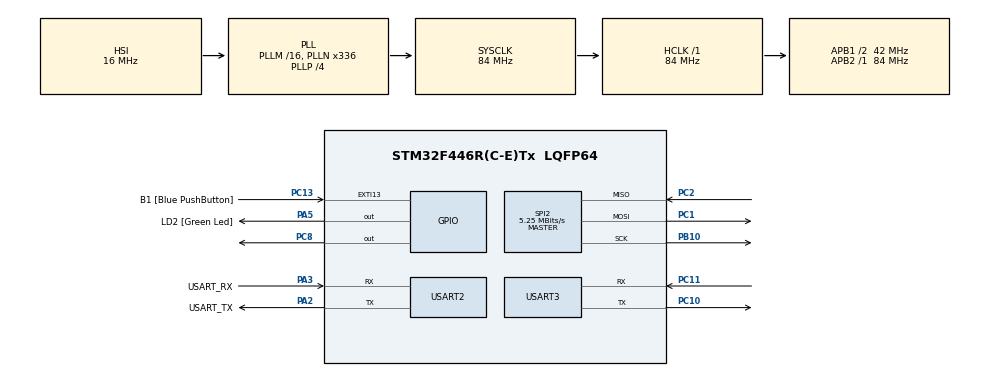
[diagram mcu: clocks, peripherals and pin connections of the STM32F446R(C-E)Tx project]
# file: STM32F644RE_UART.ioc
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Mcu.Family=STM32F4
Mcu.Name=STM32F446R(C-E)Tx
Mcu.Package=LQFP64
NVIC.PriorityGroup=NVIC_PRIORITYGROUP_0
PA13.GPIO_Label=TMS
PA13.Mode=Serial_Wire
PA13.Signal=SYS_JTMS-SWDIO
PA14.GPIO_Label=TCK
PA14.Mode=Serial_Wire
PA14.Signal=SYS_JTCK-SWCLK
PA2.GPIO_Label=USART_TX
PA2.Mode=Asynchronous
PA2.Signal=USART2_TX
PA3.GPIO_Label=USART_RX
PA3.Mode=Asynchronous
PA3.Signal=USART2_RX
PA5.GPIO_Label=LD2 [Green Led]
PA5.Signal=GPIO_Output
PB10.Mode=Full_Duplex_Master
PB10.Signal=SPI2_SCK
PB3.GPIO_Label=SWO
PB3.Signal=SYS_JTDO-SWO
PC1.Mode=Full_Duplex_Master
PC1.Signal=SPI2_MOSI
PC10.Mode=Asynchronous
PC10.Signal=USART3_TX
PC11.Mode=Asynchronous
PC11.Signal=USART3_RX
PC13.GPIO_Label=B1 [Blue PushButton]
PC13.GPIO_ModeDefaultEXTI=GPIO_MODE_IT_FALLING
PC13.Signal=GPXTI13
PC14-OSC32_IN.Mode=LSE-External-Oscillator
PC14-OSC32_IN.Signal=RCC_OSC32_IN
PC15-OSC32_OUT.Mode=LSE-External-Oscillator
PC15-OSC32_OUT.Signal=RCC_OSC32_OUT
PC2.Mode=Full_Duplex_Master
PC2.Signal=SPI2_MISO
PC8.Signal=GPIO_Output
PH0-OSC_IN.Mode=HSE-External-Oscillator
PH0-OSC_IN.Signal=RCC_OSC_IN
PH1-OSC_OUT.Mode=HSE-External-Oscillator
PH1-OSC_OUT.Signal=RCC_OSC_OUT
ProjectManager.HeapSize=0x200
ProjectManager.StackSize=0x400
ProjectManager.TargetToolchain=SW4STM32
RCC.48MHZClocksFreq_Value=84000000
RCC.AHBFreq_Value=84000000
RCC.APB1CLKDivider=RCC_HCLK_DIV2
RCC.APB1Freq_Value=42000000
RCC.APB1TimFreq_Value=84000000
RCC.APB2Freq_Value=84000000
RCC.APB2TimFreq_Value=84000000
RCC.CortexFreq_Value=84000000
RCC.FLatency-AdvancedSettings=FLASH_LATENCY_2
RCC.HCLKFreq_Value=84000000
RCC.HSE_VALUE=8000000
RCC.HSI_VALUE=16000000
RCC.PLLN=336
RCC.PLLP=RCC_PLLP_DIV4
RCC.SYSCLKFreq_VALUE=84000000
RCC.SYSCLKSource=RCC_SYSCLKSOURCE_PLLCLK
RCC.USBFreq_Value=168000000
RCC.VCOOutputFreq_Value=336000000
SPI2.BaudRatePrescaler=SPI_BAUDRATEPRESCALER_8
SPI2.CLKPhase=SPI_PHASE_1EDGE
SPI2.CLKPolarity=SPI_POLARITY_LOW
SPI2.CalculateBaudRate=5.25 MBits/s
SPI2.Direction=SPI_DIRECTION_2LINES
SPI2.Mode=SPI_MODE_MASTER
SPI2.VirtualType=VM_MASTER
USART2.VirtualMode=VM_ASYNC
USART3.VirtualMode=VM_ASYNC
VP_TIM6_VS_ClockSourceINT.Mode=Enable_Timer
board=NUCLEO-F446RE

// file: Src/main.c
/* USER CODE BEGIN Header */
/**
  ******************************************************************************
  * @file           : main.c
  * @brief          : Main program body
  ******************************************************************************
  * @attention
  *
  * <h2><center>&copy; Copyright (c) 2019 STMicroelectronics.
  * All rights reserved.</center></h2>
  *
  * This software component is licensed by ST under BSD 3-Clause license,
  * the "License"; You may not use this file except in compliance with the
  * License. You may obtain a copy of the License at:
  *                        opensource.org/licenses/BSD-3-Clause
  *
  ******************************************************************************
  */
/* USER CODE END Header */

#include "main.h"

/* USER CODE BEGIN Includes */
#include <stdio.h>
#include <string.h>
#include <lan9252drv.h>
#include <lan9252.h>
/* USER CODE END Includes */

SPI_HandleTypeDef hspi2;

TIM_HandleTypeDef htim6;

UART_HandleTypeDef huart2;
UART_HandleTypeDef huart3;

/* USER CODE BEGIN PV */
spiCTX context;
/* USER CODE END PV */

void SystemClock_Config(void);
static void MX_GPIO_Init(void);
static void MX_USART2_UART_Init(void);
static void MX_USART3_UART_Init(void);
static void MX_SPI2_Init(void);
static void MX_TIM6_Init(void);
/* USER CODE BEGIN PFP */
PROCBUFFER_OUT 	BufferOut;
PROCBUFFER_IN 	BufferIn;
/* USER CODE END PFP */

/* USER CODE BEGIN 0 */
void TIM6_DAC_IRQHandler(void);
void HAL_TIM_Base_MspInit(TIM_HandleTypeDef *htimer);
/* USER CODE END 0 */

int main(void)
{
  /* USER CODE BEGIN 1 */
	context.uart 	= &huart3;
	context.spi 	= &hspi2;
	context.bIn 	= &BufferIn;
	context.bOut 	= &BufferOut;
  /* USER CODE END 1 */

  /* MCU Configuration--------------------------------------------------------*/

  /* Reset of all peripherals, Initializes the Flash interface and the Systick. */
  HAL_Init();

  /* Configure the system clock */
  SystemClock_Config();

  /* Initialize all configured peripherals */
  MX_GPIO_Init();
  MX_USART2_UART_Init();
  MX_USART3_UART_Init();
  MX_SPI2_Init();
  MX_TIM6_Init();
  /* USER CODE BEGIN 2 */

  memset(&BufferOut.Byte, 3, sizeof(BufferIn.Byte));
  memset(&BufferIn.Byte, 6, sizeof(BufferIn.Byte));

  init9252(&context);

  HAL_TIM_Base_Start_IT(&htim6);

  /* USER CODE END 2 */

  /* Infinite loop */
  /* USER CODE BEGIN WHILE */
  while (1) {
	app(&context);
    /* USER CODE END WHILE */

  }
}

void SystemClock_Config(void)
{
  RCC_OscInitTypeDef RCC_OscInitStruct = {0};
  RCC_ClkInitTypeDef RCC_ClkInitStruct = {0};

  /** Configure the main internal regulator output voltage
  */
  __HAL_RCC_PWR_CLK_ENABLE();
  __HAL_PWR_VOLTAGESCALING_CONFIG(PWR_REGULATOR_VOLTAGE_SCALE3);
  /** Initializes the CPU, AHB and APB busses clocks
  */
  RCC_OscInitStruct.OscillatorType = RCC_OSCILLATORTYPE_HSI;
  RCC_OscInitStruct.HSIState = RCC_HSI_ON;
  RCC_OscInitStruct.HSICalibrationValue = RCC_HSICALIBRATION_DEFAULT;
  RCC_OscInitStruct.PLL.PLLState = RCC_PLL_ON;
  RCC_OscInitStruct.PLL.PLLSource = RCC_PLLSOURCE_HSI;
  RCC_OscInitStruct.PLL.PLLM = 16;
  RCC_OscInitStruct.PLL.PLLN = 336;
  RCC_OscInitStruct.PLL.PLLP = RCC_PLLP_DIV4;
  RCC_OscInitStruct.PLL.PLLQ = 2;
  RCC_OscInitStruct.PLL.PLLR = 2;
  if (HAL_RCC_OscConfig(&RCC_OscInitStruct) != HAL_OK)
  {
    Error_Handler();
  }
  /** Initializes the CPU, AHB and APB busses clocks
  */
  RCC_ClkInitStruct.ClockType = RCC_CLOCKTYPE_HCLK|RCC_CLOCKTYPE_SYSCLK
                              |RCC_CLOCKTYPE_PCLK1|RCC_CLOCKTYPE_PCLK2;
  RCC_ClkInitStruct.SYSCLKSource = RCC_SYSCLKSOURCE_PLLCLK;
  RCC_ClkInitStruct.AHBCLKDivider = RCC_SYSCLK_DIV1;
  RCC_ClkInitStruct.APB1CLKDivider = RCC_HCLK_DIV2;
  RCC_ClkInitStruct.APB2CLKDivider = RCC_HCLK_DIV1;

  if (HAL_RCC_ClockConfig(&RCC_ClkInitStruct, FLASH_LATENCY_2) != HAL_OK)
  {
    Error_Handler();
  }
}

static void MX_SPI2_Init(void)
{

  /* SPI2 parameter configuration*/
  hspi2.Instance = SPI2;
  hspi2.Init.Mode = SPI_MODE_MASTER;
  hspi2.Init.Direction = SPI_DIRECTION_2LINES;
  hspi2.Init.DataSize = SPI_DATASIZE_8BIT;
  hspi2.Init.CLKPolarity = SPI_POLARITY_LOW;
  hspi2.Init.CLKPhase = SPI_PHASE_1EDGE;
  hspi2.Init.NSS = SPI_NSS_SOFT;
  hspi2.Init.BaudRatePrescaler = SPI_BAUDRATEPRESCALER_8;
  hspi2.Init.FirstBit = SPI_FIRSTBIT_MSB;
  hspi2.Init.TIMode = SPI_TIMODE_DISABLE;
  hspi2.Init.CRCCalculation = SPI_CRCCALCULATION_DISABLE;
  hspi2.Init.CRCPolynomial = 10;
  if (HAL_SPI_Init(&hspi2) != HAL_OK)
  {
    Error_Handler();
  }

}

static void MX_TIM6_Init(void)
{

  TIM_MasterConfigTypeDef sMasterConfig = {0};

  htim6.Instance = TIM6;
  htim6.Init.Prescaler = 192;
  htim6.Init.CounterMode = TIM_COUNTERMODE_UP;
  htim6.Init.Period = 64000-1;
  htim6.Init.AutoReloadPreload = TIM_AUTORELOAD_PRELOAD_DISABLE;
  if (HAL_TIM_Base_Init(&htim6) != HAL_OK)
  {
    Error_Handler();
  }
  sMasterConfig.MasterOutputTrigger = TIM_TRGO_RESET;
  sMasterConfig.MasterSlaveMode = TIM_MASTERSLAVEMODE_DISABLE;
  if (HAL_TIMEx_MasterConfigSynchronization(&htim6, &sMasterConfig) != HAL_OK)
  {
    Error_Handler();
  }

}

static void MX_USART2_UART_Init(void)
{

  huart2.Instance = USART2;
  huart2.Init.BaudRate = 115200;
  huart2.Init.WordLength = UART_WORDLENGTH_8B;
  huart2.Init.StopBits = UART_STOPBITS_1;
  huart2.Init.Parity = UART_PARITY_NONE;
  huart2.Init.Mode = UART_MODE_TX_RX;
  huart2.Init.HwFlowCtl = UART_HWCONTROL_NONE;
  huart2.Init.OverSampling = UART_OVERSAMPLING_16;
  if (HAL_UART_Init(&huart2) != HAL_OK)
  {
    Error_Handler();
  }

}

static void MX_USART3_UART_Init(void)
{

  huart3.Instance = USART3;
  huart3.Init.BaudRate = 115200;
  huart3.Init.WordLength = UART_WORDLENGTH_8B;
  huart3.Init.StopBits = UART_STOPBITS_1;
  huart3.Init.Parity = UART_PARITY_NONE;
  huart3.Init.Mode = UART_MODE_TX_RX;
  huart3.Init.HwFlowCtl = UART_HWCONTROL_NONE;
  huart3.Init.OverSampling = UART_OVERSAMPLING_16;
  if (HAL_UART_Init(&huart3) != HAL_OK)
  {
    Error_Handler();
  }

}

static void MX_GPIO_Init(void)
{
  GPIO_InitTypeDef GPIO_InitStruct = {0};

  /* GPIO Ports Clock Enable */
  __HAL_RCC_GPIOC_CLK_ENABLE();
  __HAL_RCC_GPIOH_CLK_ENABLE();
  __HAL_RCC_GPIOA_CLK_ENABLE();
  __HAL_RCC_GPIOB_CLK_ENABLE();

  /*Configure GPIO pin Output Level */
  HAL_GPIO_WritePin(LD2_GPIO_Port, LD2_Pin, GPIO_PIN_RESET);

  /*Configure GPIO pin Output Level */
  HAL_GPIO_WritePin(GPIOC, GPIO_PIN_8, GPIO_PIN_RESET);

  /*Configure GPIO pin : B1_Pin */
  GPIO_InitStruct.Pin = B1_Pin;
  GPIO_InitStruct.Mode = GPIO_MODE_IT_FALLING;
  GPIO_InitStruct.Pull = GPIO_NOPULL;
  HAL_GPIO_Init(B1_GPIO_Port, &GPIO_InitStruct);

  /*Configure GPIO pin : LD2_Pin */
  GPIO_InitStruct.Pin = LD2_Pin;
  GPIO_InitStruct.Mode = GPIO_MODE_OUTPUT_PP;
  GPIO_InitStruct.Pull = GPIO_NOPULL;
  GPIO_InitStruct.Speed = GPIO_SPEED_FREQ_LOW;
  HAL_GPIO_Init(LD2_GPIO_Port, &GPIO_InitStruct);

  /*Configure GPIO pin : PC8 */
  GPIO_InitStruct.Pin = GPIO_PIN_8;
  GPIO_InitStruct.Mode = GPIO_MODE_OUTPUT_PP;
  GPIO_InitStruct.Pull = GPIO_NOPULL;
  GPIO_InitStruct.Speed = GPIO_SPEED_FREQ_LOW;
  HAL_GPIO_Init(GPIOC, &GPIO_InitStruct);

}

/* USER CODE BEGIN 4 */

void TIM6_DAC_IRQHandler(void) {
	// sendSensorOne(&context);
}

/*
void HAL_TIM_Base_MspInit(TIM_HandleTypeDef *htimer) {
	// 1. Enable the clock for TIMER6 peripheral
	__HAL_RCC_TIM6_CLK_ENABLE();

	// 2. Enable IRQ of TIMER6
	HAL_NVIC_EnableIRQ(TIM6_DAC_IRQn);

	// 3.Setup the priority for TIM6_DAC_IRQn
	HAL_NVIC_SetPriority(TIM6_DAC_IRQn, 15, 0);
}
*/

/* USER CODE END 4 */

void Error_Handler(void)
{
}

/************************ (C) COPYRIGHT STMicroelectronics *****END OF FILE****/
